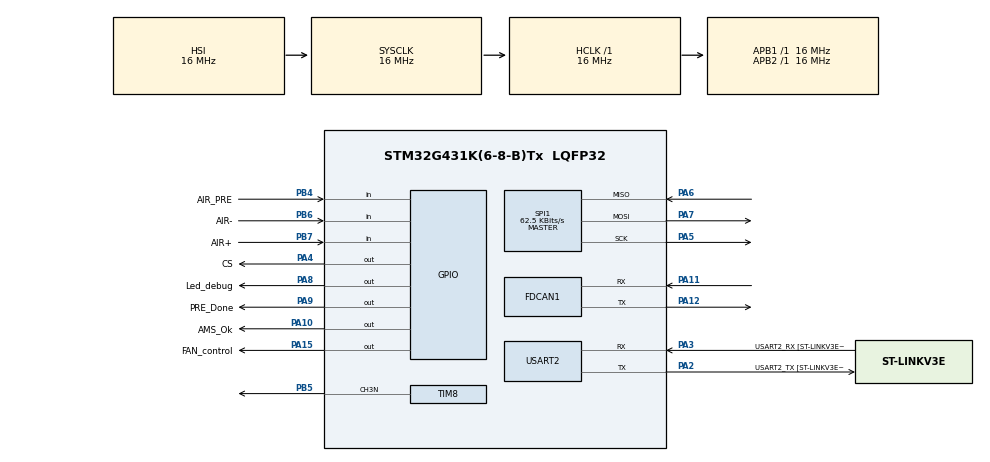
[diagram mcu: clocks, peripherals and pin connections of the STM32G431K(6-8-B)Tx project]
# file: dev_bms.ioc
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FDCAN1.AutoRetransmission=ENABLE
FDCAN1.CalculateBaudRateNominal=1000000
FDCAN1.CalculateTimeBitNominal=1000
FDCAN1.CalculateTimeQuantumNominal=62.5
FDCAN1.ClockDivider=FDCAN_CLOCK_DIV1
FDCAN1.DataTimeSeg1=1
FDCAN1.DataTimeSeg2=1
FDCAN1.NominalPrescaler=1
FDCAN1.NominalTimeSeg1=13
FDCAN1.StdFiltersNbr=28
Mcu.Family=STM32G4
Mcu.Name=STM32G431K(6-8-B)Tx
Mcu.Package=LQFP32
NVIC.FDCAN1_IT0_IRQn=true\:0\:0\:false\:false\:true\:true\:true\:true
NVIC.PriorityGroup=NVIC_PRIORITYGROUP_4
PA10.GPIO_Label=AMS_Ok
PA10.Signal=GPIO_Output
PA11.Mode=FDCAN_Activate
PA11.Signal=FDCAN1_RX
PA12.Mode=FDCAN_Activate
PA12.Signal=FDCAN1_TX
PA13.GPIO_Label=T_SWDIO
PA13.Mode=Serial_Wire
PA13.Signal=SYS_JTMS-SWDIO
PA14.GPIO_Label=T_SWCLK
PA14.Mode=Serial_Wire
PA14.Signal=SYS_JTCK-SWCLK
PA15.GPIO_Label=FAN_control
PA15.Signal=GPIO_Output
PA2.GPIO_Label=USART2_TX [ST-LINKV3E_VCP_RX]
PA2.Mode=Asynchronous
PA2.Signal=USART2_TX
PA3.GPIO_Label=USART2_RX [ST-LINKV3E_VCP_TX]
PA3.Mode=Asynchronous
PA3.Signal=USART2_RX
PA4.GPIO_Label=CS
PA4.Signal=GPIO_Output
PA5.Mode=Full_Duplex_Master
PA5.Signal=SPI1_SCK
PA6.Mode=Full_Duplex_Master
PA6.Signal=SPI1_MISO
PA7.Mode=Full_Duplex_Master
PA7.Signal=SPI1_MOSI
PA8.GPIO_Label=Led_debug
PA8.Signal=GPIO_Output
PA9.GPIO_Label=PRE_Done
PA9.Signal=GPIO_Output
PB3.GPIO_Label=T_SWO
PB3.Signal=SYS_JTDO-SWO
PB4.GPIO_Label=AIR_PRE
PB4.Signal=GPIO_Input
PB5.Mode=PWM Generation3 CH3N
PB5.Signal=TIM8_CH3N
PB6.GPIO_Label=AIR-
PB6.Signal=GPIO_Input
PB7.GPIO_Label=AIR+
PB7.Signal=GPIO_Input
PF0-OSC_IN.Mode=HSE-External-Oscillator
PF0-OSC_IN.Signal=RCC_OSC_IN
PF1-OSC_OUT.Mode=HSE-External-Oscillator
PF1-OSC_OUT.Signal=RCC_OSC_OUT
ProjectManager.HeapSize=0x200
ProjectManager.StackSize=0x400
ProjectManager.TargetToolchain=STM32CubeIDE
RCC.ADC12Freq_Value=16000000
RCC.AHBFreq_Value=16000000
RCC.APB1Freq_Value=16000000
RCC.APB1TimFreq_Value=16000000
RCC.APB2Freq_Value=16000000
RCC.APB2TimFreq_Value=16000000
RCC.CortexFreq_Value=16000000
RCC.EXTERNAL_CLOCK_VALUE=12288000
RCC.HCLKFreq_Value=16000000
RCC.HSE_VALUE=8000000
RCC.HSI48_VALUE=48000000
RCC.HSI_VALUE=16000000
RCC.LSE_VALUE=32768
RCC.PLLM=RCC_PLLM_DIV4
RCC.PLLN=85
RCC.SYSCLKFreq_VALUE=16000000
RCC.USBFreq_Value=170000000
RCC.VCOOutputFreq_Value=340000000
SPI1.BaudRatePrescaler=SPI_BAUDRATEPRESCALER_256
SPI1.CLKPhase=SPI_PHASE_2EDGE
SPI1.CLKPolarity=SPI_POLARITY_HIGH
SPI1.CalculateBaudRate=62.5 KBits/s
SPI1.DataSize=SPI_DATASIZE_8BIT
SPI1.Direction=SPI_DIRECTION_2LINES
SPI1.Mode=SPI_MODE_MASTER
SPI1.VirtualType=VM_MASTER
TIM8.AutoReloadPreload=TIM_AUTORELOAD_PRELOAD_ENABLE
TIM8.Channel-PWM\ Generation3\ CH3N=TIM_CHANNEL_3
TIM8.PeriodNoDither=39
TIM8.Prescaler=15
TIM8.PulseNoDither_3=19
USART2.VirtualMode-Asynchronous=VM_ASYNC
USART2.WordLength=WORDLENGTH_8B
VP_TIM8_VS_ClockSourceINT.Mode=Internal
board=NUCLEO-G431KB

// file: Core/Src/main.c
/* USER CODE BEGIN Header */
/**
  ******************************************************************************
  * @file           : main.c
  * @brief          : Main program body
  ******************************************************************************
  * @attention
  *
  * Copyright (c) 2023 STMicroelectronics.
  * All rights reserved.
  *
  * This software is licensed under terms that can be found in the LICENSE file
  * in the root directory of this software component.
  * If no LICENSE file comes with this software, it is provided AS-IS.
  *
  ******************************************************************************
  */
/* USER CODE END Header */
#include "main.h"

/* USER CODE BEGIN Includes */
#include "can.h"
#include "conf.h"
#include "operation.h"
#include "pwm.h"
/* USER CODE END Includes */

/* USER CODE BEGIN PD */
#define CANID_CONFIG 0x602
/* USER CODE END PD */

FDCAN_HandleTypeDef hfdcan1;

SPI_HandleTypeDef hspi1;

TIM_HandleTypeDef htim8;

UART_HandleTypeDef huart2;

/* USER CODE BEGIN PV */
#define CANID_SYNC		0x80

FDCAN_TxHeaderTypeDef TxHeader;

FDCAN_RxHeaderTypeDef RxHeader;

uint8_t               CAN_TxData[8];
uint8_t               CAN_RxData[8];

/* USER CODE END PV */

void SystemClock_Config(void);
static void MX_GPIO_Init(void);
static void MX_USART2_UART_Init(void);
static void MX_SPI1_Init(void);
static void MX_TIM8_Init(void);
static void MX_FDCAN1_Init(void);

int main(void)
{

  /* MCU Configuration--------------------------------------------------------*/

  /* Reset of all peripherals, Initializes the Flash interface and the Systick. */
  HAL_Init();

  /* Configure the system clock */
  SystemClock_Config();

  /* Initialize all configured peripherals */
  MX_GPIO_Init();
  MX_USART2_UART_Init();
  MX_SPI1_Init();
  MX_TIM8_Init();
  MX_FDCAN1_Init();
  /* USER CODE BEGIN 2 */

  if(HAL_FDCAN_Start(&hfdcan1)!= HAL_OK)
    {
  	  Error_Handler();
    }
    if (HAL_FDCAN_ActivateNotification(&hfdcan1, FDCAN_IT_RX_FIFO0_NEW_MESSAGE, 0) != HAL_OK)
    {
      /* Notification Error */
      Error_Handler();
    }

  HAL_TIMEx_PWMN_Start(&htim8, TIM_CHANNEL_3);
  uint16_t pulse = 0;

  /* USER CODE END 2 */

  /* Infinite loop */
  /* USER CODE BEGIN WHILE */
  while (1)
    {
      // Here we create a FDCAN message

	 operation_main();
    /* USER CODE END WHILE */

    }
}

void SystemClock_Config(void)
{
  RCC_OscInitTypeDef RCC_OscInitStruct = {0};
  RCC_ClkInitTypeDef RCC_ClkInitStruct = {0};

  /** Configure the main internal regulator output voltage
  */
  HAL_PWREx_ControlVoltageScaling(PWR_REGULATOR_VOLTAGE_SCALE1);

  /** Initializes the RCC Oscillators according to the specified parameters
  * in the RCC_OscInitTypeDef structure.
  */
  RCC_OscInitStruct.OscillatorType = RCC_OSCILLATORTYPE_HSI;
  RCC_OscInitStruct.HSIState = RCC_HSI_ON;
  RCC_OscInitStruct.HSICalibrationValue = RCC_HSICALIBRATION_DEFAULT;
  RCC_OscInitStruct.PLL.PLLState = RCC_PLL_NONE;
  if (HAL_RCC_OscConfig(&RCC_OscInitStruct) != HAL_OK)
  {
    Error_Handler();
  }

  /** Initializes the CPU, AHB and APB buses clocks
  */
  RCC_ClkInitStruct.ClockType = RCC_CLOCKTYPE_HCLK|RCC_CLOCKTYPE_SYSCLK
                              |RCC_CLOCKTYPE_PCLK1|RCC_CLOCKTYPE_PCLK2;
  RCC_ClkInitStruct.SYSCLKSource = RCC_SYSCLKSOURCE_HSI;
  RCC_ClkInitStruct.AHBCLKDivider = RCC_SYSCLK_DIV1;
  RCC_ClkInitStruct.APB1CLKDivider = RCC_HCLK_DIV1;
  RCC_ClkInitStruct.APB2CLKDivider = RCC_HCLK_DIV1;

  if (HAL_RCC_ClockConfig(&RCC_ClkInitStruct, FLASH_LATENCY_0) != HAL_OK)
  {
    Error_Handler();
  }
}

static void MX_FDCAN1_Init(void)
{

  hfdcan1.Instance = FDCAN1;
  hfdcan1.Init.ClockDivider = FDCAN_CLOCK_DIV1;
  hfdcan1.Init.FrameFormat = FDCAN_FRAME_CLASSIC;
  hfdcan1.Init.Mode = FDCAN_MODE_NORMAL;
  hfdcan1.Init.AutoRetransmission = ENABLE;
  hfdcan1.Init.TransmitPause = DISABLE;
  hfdcan1.Init.ProtocolException = DISABLE;
  hfdcan1.Init.NominalPrescaler = 1;
  hfdcan1.Init.NominalSyncJumpWidth = 1;
  hfdcan1.Init.NominalTimeSeg1 = 13;
  hfdcan1.Init.NominalTimeSeg2 = 2;
  hfdcan1.Init.DataPrescaler = 1;
  hfdcan1.Init.DataSyncJumpWidth = 1;
  hfdcan1.Init.DataTimeSeg1 = 1;
  hfdcan1.Init.DataTimeSeg2 = 1;
  hfdcan1.Init.StdFiltersNbr = 28;
  hfdcan1.Init.ExtFiltersNbr = 0;
  hfdcan1.Init.TxFifoQueueMode = FDCAN_TX_FIFO_OPERATION;
  if (HAL_FDCAN_Init(&hfdcan1) != HAL_OK)
  {
    Error_Handler();
  }
  /* USER CODE BEGIN FDCAN1_Init 2 */
  FDCAN_FilterTypeDef sFilterConfig;

  if (HAL_FDCAN_ConfigRxFifoOverwrite(&hfdcan1, FDCAN_RX_FIFO0, FDCAN_RX_FIFO_OVERWRITE) != HAL_OK)
    {
      Error_Handler();
    }
  if (HAL_FDCAN_ConfigRxFifoOverwrite(&hfdcan1, FDCAN_RX_FIFO1, FDCAN_RX_FIFO_OVERWRITE) != HAL_OK)
    {
      Error_Handler();
    }

  //only accept config/request can messages and sync can messages
  sFilterConfig.IdType = FDCAN_STANDARD_ID;
  sFilterConfig.FilterIndex = 0;
  sFilterConfig.FilterType = FDCAN_FILTER_MASK;
  sFilterConfig.FilterConfig = FDCAN_FILTER_TO_RXFIFO0;
  sFilterConfig.FilterID1 = 1900; //CANID_CONFIG;
  sFilterConfig.FilterID2 = 0x7FF;
  if (HAL_FDCAN_ConfigFilter(&hfdcan1, &sFilterConfig) != HAL_OK)
    {
      Error_Handler();
    }

  // Additional filter configuration for 0x52x messages
  sFilterConfig.IdType = FDCAN_STANDARD_ID;
  sFilterConfig.FilterIndex = 1;
  sFilterConfig.FilterType = FDCAN_FILTER_MASK;
  sFilterConfig.FilterConfig = FDCAN_FILTER_TO_RXFIFO0;
  sFilterConfig.FilterID1 = 0x520;   // Start of the range
  sFilterConfig.FilterID2 = 0x700;   // Mask for the filter. This will allow IDs 0x520 - 0x52F
  if (HAL_FDCAN_ConfigFilter(&hfdcan1, &sFilterConfig) != HAL_OK)
  {
      Error_Handler();
  }

  // Filter configuration for message ID 150
  sFilterConfig.IdType = FDCAN_STANDARD_ID;
  sFilterConfig.FilterIndex = 2; // Different index for this filter
  sFilterConfig.FilterType = FDCAN_FILTER_MASK;
  sFilterConfig.FilterConfig = FDCAN_FILTER_TO_RXFIFO0;
  sFilterConfig.FilterID1 = 150;   // Specific ID
  sFilterConfig.FilterID2 = 0x7FF;   // Mask for the filter. This will allow only ID 150
  if (HAL_FDCAN_ConfigFilter(&hfdcan1, &sFilterConfig) != HAL_OK)
  {
      Error_Handler();
  }

  if (HAL_FDCAN_ConfigGlobalFilter(&hfdcan1, FDCAN_REJECT, FDCAN_REJECT, FDCAN_REJECT_REMOTE, FDCAN_REJECT_REMOTE) != HAL_OK)
    {
      Error_Handler();
    }

  if(HAL_FDCAN_Start(&hfdcan1) != HAL_OK)
    {
      Error_Handler();
    }
  if(HAL_FDCAN_ActivateNotification(&hfdcan1, FDCAN_IT_RX_FIFO0_NEW_MESSAGE, 0) != HAL_OK)
    {
      Error_Handler();
    }

  TxHeader.Identifier = 0x123; // Modify this with your identifier
  TxHeader.IdType = FDCAN_STANDARD_ID;
  TxHeader.TxFrameType = FDCAN_DATA_FRAME;
  TxHeader.DataLength = FDCAN_DLC_BYTES_8;
  TxHeader.ErrorStateIndicator = FDCAN_ESI_ACTIVE;
  TxHeader.BitRateSwitch = FDCAN_BRS_OFF;
  TxHeader.FDFormat = FDCAN_CLASSIC_CAN;
  TxHeader.TxEventFifoControl = FDCAN_NO_TX_EVENTS;
  TxHeader.MessageMarker = 0;
  /* USER CODE END FDCAN1_Init 2 */

}

static void MX_SPI1_Init(void)
{

  /* SPI1 parameter configuration*/
  hspi1.Instance = SPI1;
  hspi1.Init.Mode = SPI_MODE_MASTER;
  hspi1.Init.Direction = SPI_DIRECTION_2LINES;
  hspi1.Init.DataSize = SPI_DATASIZE_8BIT;
  hspi1.Init.CLKPolarity = SPI_POLARITY_HIGH;
  hspi1.Init.CLKPhase = SPI_PHASE_2EDGE;
  hspi1.Init.NSS = SPI_NSS_SOFT;
  hspi1.Init.BaudRatePrescaler = SPI_BAUDRATEPRESCALER_256;
  hspi1.Init.FirstBit = SPI_FIRSTBIT_MSB;
  hspi1.Init.TIMode = SPI_TIMODE_DISABLE;
  hspi1.Init.CRCCalculation = SPI_CRCCALCULATION_DISABLE;
  hspi1.Init.CRCPolynomial = 7;
  hspi1.Init.CRCLength = SPI_CRC_LENGTH_DATASIZE;
  hspi1.Init.NSSPMode = SPI_NSS_PULSE_DISABLE;
  if (HAL_SPI_Init(&hspi1) != HAL_OK)
  {
    Error_Handler();
  }

}

static void MX_TIM8_Init(void)
{

  TIM_ClockConfigTypeDef sClockSourceConfig = {0};
  TIM_MasterConfigTypeDef sMasterConfig = {0};
  TIM_OC_InitTypeDef sConfigOC = {0};
  TIM_BreakDeadTimeConfigTypeDef sBreakDeadTimeConfig = {0};

  htim8.Instance = TIM8;
  htim8.Init.Prescaler = 15;
  htim8.Init.CounterMode = TIM_COUNTERMODE_UP;
  htim8.Init.Period = 39;
  htim8.Init.ClockDivision = TIM_CLOCKDIVISION_DIV1;
  htim8.Init.RepetitionCounter = 0;
  htim8.Init.AutoReloadPreload = TIM_AUTORELOAD_PRELOAD_ENABLE;
  if (HAL_TIM_Base_Init(&htim8) != HAL_OK)
  {
    Error_Handler();
  }
  sClockSourceConfig.ClockSource = TIM_CLOCKSOURCE_INTERNAL;
  if (HAL_TIM_ConfigClockSource(&htim8, &sClockSourceConfig) != HAL_OK)
  {
    Error_Handler();
  }
  if (HAL_TIM_PWM_Init(&htim8) != HAL_OK)
  {
    Error_Handler();
  }
  sMasterConfig.MasterOutputTrigger = TIM_TRGO_RESET;
  sMasterConfig.MasterOutputTrigger2 = TIM_TRGO2_RESET;
  sMasterConfig.MasterSlaveMode = TIM_MASTERSLAVEMODE_DISABLE;
  if (HAL_TIMEx_MasterConfigSynchronization(&htim8, &sMasterConfig) != HAL_OK)
  {
    Error_Handler();
  }
  sConfigOC.OCMode = TIM_OCMODE_PWM1;
  sConfigOC.Pulse = 19;
  sConfigOC.OCPolarity = TIM_OCPOLARITY_HIGH;
  sConfigOC.OCNPolarity = TIM_OCNPOLARITY_HIGH;
  sConfigOC.OCFastMode = TIM_OCFAST_DISABLE;
  sConfigOC.OCIdleState = TIM_OCIDLESTATE_RESET;
  sConfigOC.OCNIdleState = TIM_OCNIDLESTATE_RESET;
  if (HAL_TIM_PWM_ConfigChannel(&htim8, &sConfigOC, TIM_CHANNEL_3) != HAL_OK)
  {
    Error_Handler();
  }
  sBreakDeadTimeConfig.OffStateRunMode = TIM_OSSR_DISABLE;
  sBreakDeadTimeConfig.OffStateIDLEMode = TIM_OSSI_DISABLE;
  sBreakDeadTimeConfig.LockLevel = TIM_LOCKLEVEL_OFF;
  sBreakDeadTimeConfig.DeadTime = 0;
  sBreakDeadTimeConfig.BreakState = TIM_BREAK_DISABLE;
  sBreakDeadTimeConfig.BreakPolarity = TIM_BREAKPOLARITY_HIGH;
  sBreakDeadTimeConfig.BreakFilter = 0;
  sBreakDeadTimeConfig.BreakAFMode = TIM_BREAK_AFMODE_INPUT;
  sBreakDeadTimeConfig.Break2State = TIM_BREAK2_DISABLE;
  sBreakDeadTimeConfig.Break2Polarity = TIM_BREAK2POLARITY_HIGH;
  sBreakDeadTimeConfig.Break2Filter = 0;
  sBreakDeadTimeConfig.Break2AFMode = TIM_BREAK_AFMODE_INPUT;
  sBreakDeadTimeConfig.AutomaticOutput = TIM_AUTOMATICOUTPUT_DISABLE;
  if (HAL_TIMEx_ConfigBreakDeadTime(&htim8, &sBreakDeadTimeConfig) != HAL_OK)
  {
    Error_Handler();
  }
  HAL_TIM_MspPostInit(&htim8);

}

static void MX_USART2_UART_Init(void)
{

  huart2.Instance = USART2;
  huart2.Init.BaudRate = 115200;
  huart2.Init.WordLength = UART_WORDLENGTH_8B;
  huart2.Init.StopBits = UART_STOPBITS_1;
  huart2.Init.Parity = UART_PARITY_NONE;
  huart2.Init.Mode = UART_MODE_TX_RX;
  huart2.Init.HwFlowCtl = UART_HWCONTROL_NONE;
  huart2.Init.OverSampling = UART_OVERSAMPLING_16;
  huart2.Init.OneBitSampling = UART_ONE_BIT_SAMPLE_DISABLE;
  huart2.Init.ClockPrescaler = UART_PRESCALER_DIV1;
  huart2.AdvancedInit.AdvFeatureInit = UART_ADVFEATURE_NO_INIT;
  if (HAL_UART_Init(&huart2) != HAL_OK)
  {
    Error_Handler();
  }
  if (HAL_UARTEx_SetTxFifoThreshold(&huart2, UART_TXFIFO_THRESHOLD_1_8) != HAL_OK)
  {
    Error_Handler();
  }
  if (HAL_UARTEx_SetRxFifoThreshold(&huart2, UART_RXFIFO_THRESHOLD_1_8) != HAL_OK)
  {
    Error_Handler();
  }
  if (HAL_UARTEx_DisableFifoMode(&huart2) != HAL_OK)
  {
    Error_Handler();
  }

}

static void MX_GPIO_Init(void)
{
  GPIO_InitTypeDef GPIO_InitStruct = {0};

  /* GPIO Ports Clock Enable */
  __HAL_RCC_GPIOF_CLK_ENABLE();
  __HAL_RCC_GPIOA_CLK_ENABLE();
  __HAL_RCC_GPIOB_CLK_ENABLE();

  /*Configure GPIO pin Output Level */
  HAL_GPIO_WritePin(GPIOA, CS_Pin|Led_debug_Pin|PRE_Done_Pin|AMS_Ok_Pin
                          |FAN_control_Pin, GPIO_PIN_RESET);

  /*Configure GPIO pins : CS_Pin Led_debug_Pin PRE_Done_Pin AMS_Ok_Pin
                           FAN_control_Pin */
  GPIO_InitStruct.Pin = CS_Pin|Led_debug_Pin|PRE_Done_Pin|AMS_Ok_Pin
                          |FAN_control_Pin;
  GPIO_InitStruct.Mode = GPIO_MODE_OUTPUT_PP;
  GPIO_InitStruct.Pull = GPIO_NOPULL;
  GPIO_InitStruct.Speed = GPIO_SPEED_FREQ_LOW;
  HAL_GPIO_Init(GPIOA, &GPIO_InitStruct);

  /*Configure GPIO pins : AIR_PRE_Pin AIR__Pin AIR_B7_Pin */
  GPIO_InitStruct.Pin = AIR_PRE_Pin|AIR__Pin|AIR_B7_Pin;
  GPIO_InitStruct.Mode = GPIO_MODE_INPUT;
  GPIO_InitStruct.Pull = GPIO_NOPULL;
  HAL_GPIO_Init(GPIOB, &GPIO_InitStruct);

}

void Error_Handler(void)
{
  /* USER CODE BEGIN Error_Handler_Debug */
  /* User can add his own implementation to report the HAL error return state */
	open_AIR();
		open_PRE();
	__disable_irq();
  while (1)
  {
  }
  /* USER CODE END Error_Handler_Debug */
}
